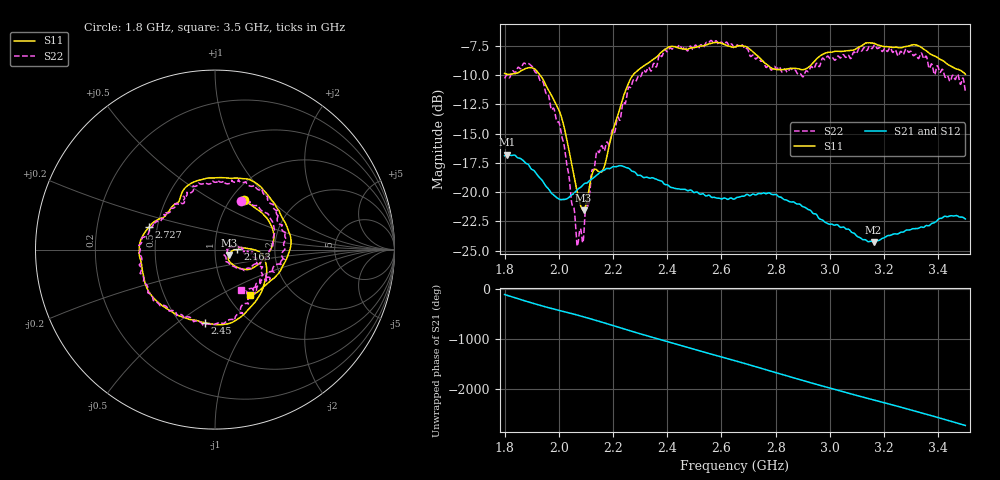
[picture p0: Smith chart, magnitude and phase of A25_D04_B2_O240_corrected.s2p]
! Created with skrf 1.9.0 (http://scikit-rf.org).
# Hz S RI R 50.0
!freq ReS11 ImS11 ReS21 ImS21 ReS12 ImS12 ReS22 ImS22
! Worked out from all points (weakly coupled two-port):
!   1601 points, 1.8 GHz to 3.5 GHz, reference 50 ohm
!   highest |S21| = -16.79 dB at 1.811 GHz (marker M1); lowest = -24.3 dB at 3.161 GHz (marker M2)
!   lowest |S11| = -21.5 dB at 2.091 GHz (marker M3), VSWR 1.18, Z = 58.3 - j3.57 ohm
!   |S11| at or under -10 dB: 1.931 GHz to 2.273 GHz (341.7 MHz wide, 16.3 % of centre)
!   |S22| runs from -24.6 to -7.0 dB; largest |S21 - S12| = 0.0023
!   S11 on the Smith chart (normalised r, x): 1.8 GHz: 1.15, +0.71; 2.163 GHz: 1.28, +0.01; 2.45 GHz: 0.65, -0.64; 2.727 GHz: 0.45, +0.14; 3.5 GHz: 1.25, -0.71
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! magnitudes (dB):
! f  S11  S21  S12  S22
! 1.8 GHz  -9.8  -16.9  -16.9  -10.3
! 1.811 GHz  -9.9  -16.8  -16.8  -10.0
! 1.883 GHz  -9.4  -17.6  -17.6  -9.0
! 1.941 GHz  -10.3  -19.1  -19.1  -10.5
! 2.01 GHz  -13.6  -20.6  -20.6  -15.2
! 2.066 GHz  -19.7  -19.8  -19.8  -24.2
! 2.084 GHz  -21.3  -19.5  -19.5  -23.6
! 2.091 GHz  -21.5  -19.3  -19.4  -24.0
! 2.128 GHz  -18.1  -18.8  -18.8  -18.1
! 2.163 GHz  -18.1  -18.2  -18.1  -16.3
! 2.261 GHz  -10.5  -18.0  -18.0  -11.0
! 2.367 GHz  -8.3  -19.0  -18.9  -8.5
! 2.45 GHz  -7.7  -19.8  -19.7  -7.6
! 2.65 GHz  -7.6  -20.6  -20.5  -7.7
! 2.727 GHz  -8.2  -20.2  -20.2  -8.6
! 2.798 GHz  -9.5  -20.2  -20.2  -9.3
! 2.898 GHz  -9.5  -21.2  -21.2  -10.1
! 2.934 GHz  -9.0  -21.7  -21.7  -9.3
! 3.161 GHz  -7.3  -24.3  -24.2  -7.5
! 3.217 GHz  -7.6  -23.7  -23.7  -7.8
! 3.324 GHz  -7.4  -23.1  -23.1  -8.5
! 3.5 GHz  -9.9  -22.3  -22.3  -11.4
